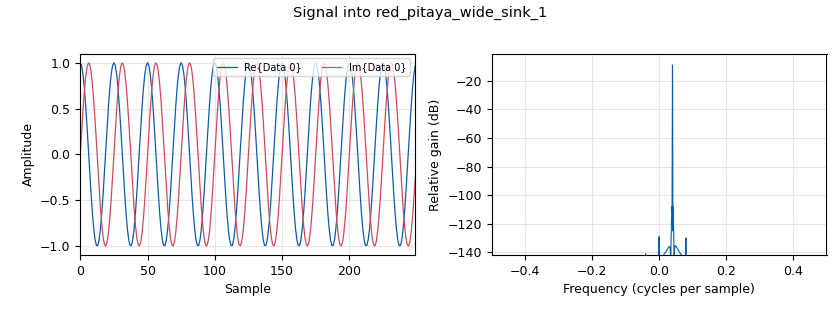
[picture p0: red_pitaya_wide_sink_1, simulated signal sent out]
<?xml version='1.0' encoding='utf-8'?>
<?grc format='1' created='3.7.10'?>
<flow_graph>
<block>
<key>options</key>
<param><key>id</key><value>top_block</value></param>
<param><key>generate_options</key><value>qt_gui</value></param>
</block>
<block>
<key>variable_qtgui_range</key>
<param><key>id</key><value>f</value></param>
<param><key>value</key><value>50</value></param>
<param><key>orient</key><value>Qt.Horizontal</value></param>
<param><key>start</key><value>1</value></param>
<param><key>step</key><value>1</value></param>
<param><key>stop</key><value>100</value></param>
</block>
<block>
<key>variable</key>
<param><key>id</key><value>samp_rate</value></param>
<param><key>value</key><value>1250000</value></param>
</block>
<block>
<key>analog_sig_source_x</key>
<param><key>id</key><value>analog_sig_source_x_0</value></param>
<param><key>amp</key><value>1</value></param>
<param><key>freq</key><value>1000*f</value></param>
<param><key>offset</key><value>0</value></param>
<param><key>type</key><value>complex</value></param>
<param><key>samp_rate</key><value>samp_rate</value></param>
<param><key>waveform</key><value>analog.GR_COS_WAVE</value></param>
</block>
<block>
<key>red_pitaya_wide_sink</key>
<param><key>id</key><value>red_pitaya_wide_sink_1</value></param>
<param><key>addr</key><value>192.168.1.100</value></param>
<param><key>freq</key><value>20000000</value></param>
<param><key>corr</key><value>0</value></param>
<param><key>mask</key><value>3</value></param>
<param><key>ptt</key><value>True</value></param>
<param><key>port</key><value>1001</value></param>
<param><key>rate</key><value>1250000</value></param>
</block>
<connection><source_block_id>analog_sig_source_x_0</source_block_id><sink_block_id>red_pitaya_wide_sink_1</sink_block_id><source_key>0</source_key><sink_key>0</sink_key></connection>
</flow_graph>
